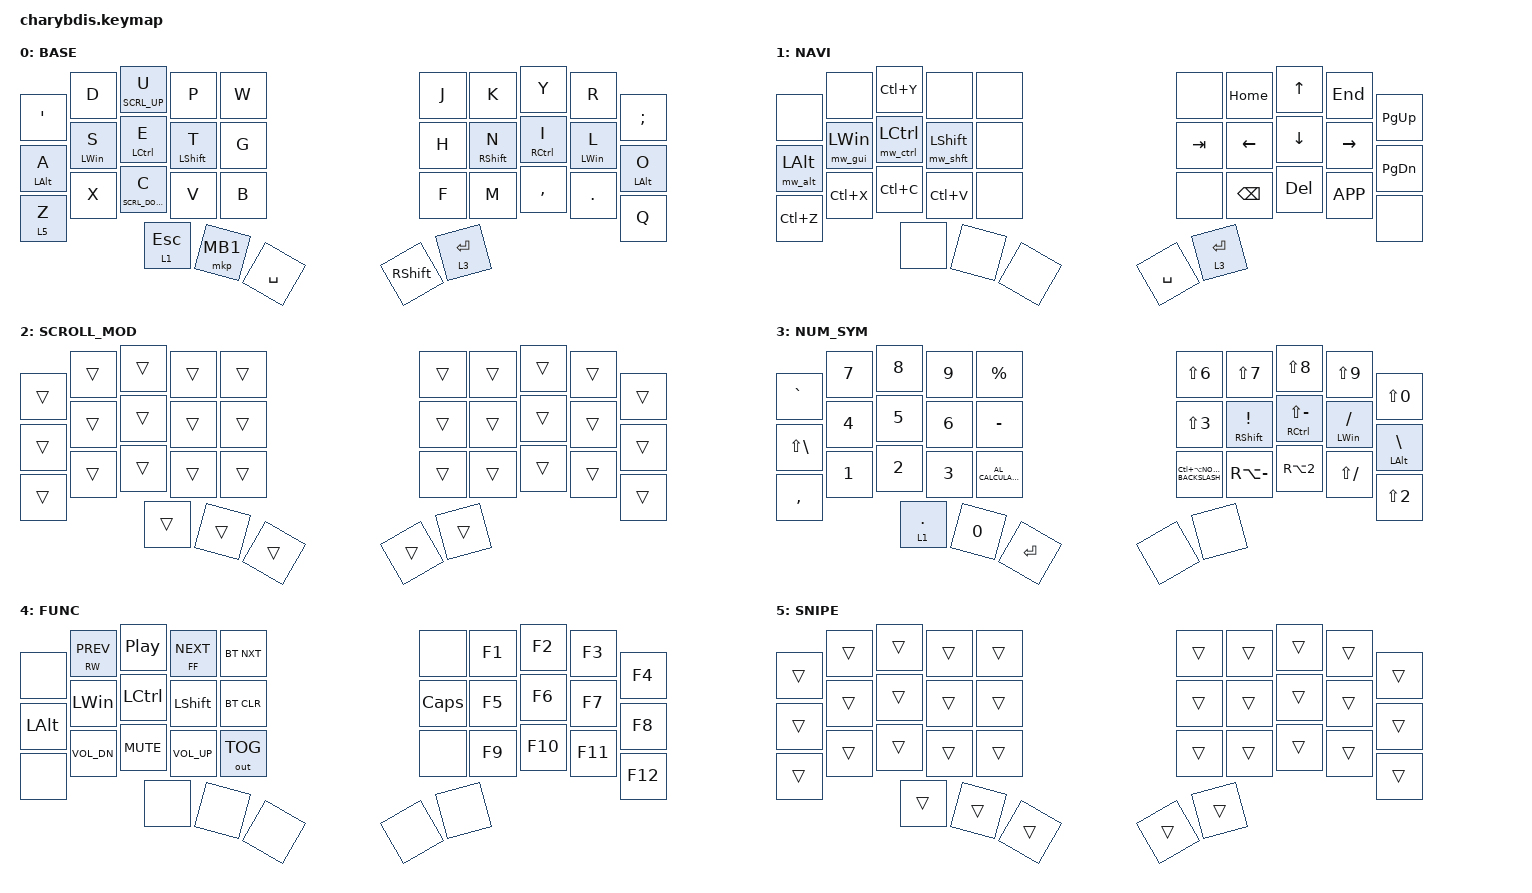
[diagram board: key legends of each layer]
#include <dt-bindings/zmk/mouse.h>
#include <behaviors/mouse_keys.dtsi>
#include <behaviors.dtsi>
#include <dt-bindings/zmk/bt.h>
#include <dt-bindings/zmk/keys.h>
#include <dt-bindings/zmk/outputs.h>
#include <dt-bindings/zmk/pointing.h>

// #include "macros.dtsi"
// #include "behaviors.dtsi"
// #include "combos.dtsi"

/ {
    /* input config for mouse move mode */

    trackball_listener {
        compatible = "zmk,input-behavior-listener";
        device = <&vtrackball>;
        layers = <0>;
        evt-type = <INPUT_EV_REL>;
        x-input-code = <INPUT_REL_X>;
        y-input-code = <INPUT_REL_Y>;
        scale-multiplier = <3>;
        scale-divisor = <5>;

        // bindings = <&ib_toggle_layer 7>;
    };

    /* input config for snipe mode */

    trackball_snipe_listener {
        compatible = "zmk,input-behavior-listener";
        device = <&vtrackball>;
        layers = <5>;
        evt-type = <INPUT_EV_REL>;
        x-input-code = <INPUT_REL_X>;
        y-input-code = <INPUT_REL_Y>;
        scale-multiplier = <1>;
        scale-divisor = <6>;
    };

    /* input config for mouse scroll mode */

    trackball_scroll_listener_vert {
        compatible = "zmk,input-behavior-listener";
        device = <&vtrackball>;
        layers = <1>;
        evt-type = <INPUT_EV_REL>;
        y-input-code = <INPUT_REL_WHEEL>;  // vertical scroll
        y-invert;
        x-input-code = <INPUT_REL_HWHEEL>;
        bindings = <&ib_wheel_scaler 1 48>, <&ib_hwheel_scaler 1 48>;

        // vertical scroll speed
    };

    trackball_scroll_listener_horiz {
        compatible = "zmk,input-behavior-listener";
        device = <&vtrackball>;
        layers = <2>;
        evt-type = <INPUT_EV_REL>;
        y-input-code = <INPUT_REL_WHEEL>;  // vertical scroll
        y-invert;
        x-input-code = <INPUT_REL_MISC>;
        bindings = <&ib_wheel_scaler 1 48>;  // vertical scroll speed
    };

    /* define a resolution down scaler only for INPUT_REL_WHEEL */

    ib_wheel_scaler: ib_wheel_scaler {
        compatible = "zmk,input-behavior-scaler";
        #binding-cells = <2>;
        evt-type = <INPUT_EV_REL>;
        input-code = <INPUT_REL_WHEEL>;
    };

    ib_hwheel_scaler: ib_hwheel_scaler {
        compatible = "zmk,input-behavior-scaler";
        #binding-cells = <2>;
        evt-type = <INPUT_EV_REL>;
        input-code = <INPUT_REL_HWHEEL>;
    };

    /* adjust cooldown waiting period for mouse key layer after activated */

    ib_toggle_layer: ib_toggle_layer {
        compatible = "zmk,input-behavior-tog-layer";
        #binding-cells = <1>;
        time-to-live-ms = <750>;
    };

    behaviors {
        hm_right: homerow_mod_right {
            compatible = "zmk,behavior-hold-tap";
            #binding-cells = <2>;
            flavor = "balanced";
            tapping-term-ms = <300>;

            // quick-tap-ms = <200>;
            // require-prior-idle-ms = <150>;

            bindings = <&kp>, <&kp>;

            hold-trigger-key-positions = <0 1 2 3 4 12 13 14 24 36 37 38 11 10 10 11 13 14 20 21 22 23 24>;
            hold-while-undecided;
            quick-tap-ms = <175>;
            require-prior-idle-ms = <150>;
            hold-trigger-on-release;
        };

        hm_left: homerow_mod_left {
            compatible = "zmk,behavior-hold-tap";
            #binding-cells = <2>;
            flavor = "balanced";
            tapping-term-ms = <300>;

            // quick-tap-ms = <200>;
            // require-prior-idle-ms = <150>;

            bindings = <&kp>, <&kp>;

            hold-trigger-key-positions = <5 6 7 8 9 15 16 17 18 19 25 26 27 28 29>;
            quick-tap-ms = <175>;
            require-prior-idle-ms = <150>;
            hold-while-undecided;
            hold-trigger-on-release;
        };

        navi_ctrl: navi_ctrl {
            compatible = "zmk,behavior-hold-tap";
            label = "NAVI_CTRL";
            bindings = <&mw_ctrl>, <&sk>;

            #binding-cells = <2>;
            hold-while-undecided;
            hold-while-undecided-linger;
            tapping-term-ms = <250>;
        };

        navi_shift: navi_shift {
            compatible = "zmk,behavior-hold-tap";
            label = "NAVI_SHIFT";
            bindings = <&mw_shft>, <&sk>;

            #binding-cells = <2>;
            hold-while-undecided;
            hold-while-undecided-linger;
            tapping-term-ms = <250>;
        };

        navi_gui: navi_gui {
            compatible = "zmk,behavior-hold-tap";
            label = "NAVI_GUI";
            bindings = <&mw_gui>, <&sk>;

            #binding-cells = <2>;
            hold-while-undecided;
            hold-while-undecided-linger;
            tapping-term-ms = <250>;
        };

        navi_alt: navi_alt {
            compatible = "zmk,behavior-hold-tap";
            label = "NAVI_ALT";
            bindings = <&mw_alt>, <&sk>;

            #binding-cells = <2>;
            hold-while-undecided;
            hold-while-undecided-linger;
            tapping-term-ms = <250>;
        };

        scroll_kp: scroll_kp {
            compatible = "zmk,behavior-hold-tap";
            label = "SCROLL_KP";
            bindings = <&msc>, <&kp>;

            #binding-cells = <2>;
            tapping-term-ms = <300>;
        };
    };

    macros {
        ENDASH: ENDASH {
            compatible = "zmk,behavior-macro";
            #binding-cells = <0>;
            bindings =
                <&macro_press>,
                <&kp LALT>,
                <&macro_tap>,
                <&kp KP_N0 &kp KP_N1 &kp KP_N5 &kp KP_N0>,
                <&macro_release>,
                <&kp LALT>;

            label = "ENDASH";
            wait-ms = <30>;
            tap-ms = <30>;
        };

        EMDASH: EMDASH {
            compatible = "zmk,behavior-macro";
            #binding-cells = <0>;
            bindings =
                <&macro_press>,
                <&kp LALT>,
                <&macro_tap>,
                <&kp KP_N0 &kp KP_N1 &kp KP_N5 &kp KP_N1>,
                <&macro_release>,
                <&kp LALT>;

            label = "EMDASH";
            wait-ms = <30>;
            tap-ms = <30>;
        };

        SUPER2: SUPER2 {
            compatible = "zmk,behavior-macro";
            #binding-cells = <0>;
            bindings =
                <&macro_press>,
                <&kp LALT>,
                <&macro_tap>,
                <&kp KP_N0 &kp KP_N1 &kp KP_N7 &kp KP_N8>,
                <&macro_release>,
                <&kp LALT>;

            label = "SUPER2";
            wait-ms = <30>;
            tap-ms = <30>;
        };

        SUPER3: SUPER3 {
            compatible = "zmk,behavior-macro";
            #binding-cells = <0>;
            bindings =
                <&macro_press>,
                <&kp LALT>,
                <&macro_tap>,
                <&kp KP_N0 &kp KP_N1 &kp KP_N7 &kp KP_N9>,
                <&macro_release>,
                <&kp LALT>;

            label = "SUPER3";
            wait-ms = <30>;
            tap-ms = <30>;
        };

        DEG: DEG {
            compatible = "zmk,behavior-macro";
            #binding-cells = <0>;
            bindings =
                <&macro_press>,
                <&kp LALT>,
                <&macro_tap>,
                <&kp KP_N0 &kp KP_N1 &kp KP_N7 &kp KP_N6>,
                <&macro_release>,
                <&kp LALT>;

            label = "DEG";
            wait-ms = <30>;
            tap-ms = <30>;
        };

        mw_ctrl: mw_ctrl {
            compatible = "zmk,behavior-macro";
            #binding-cells = <0>;
            bindings =
                <&macro_press>,
                <&mo 2 &kp LCTRL>,
                <&macro_pause_for_release>,
                <&macro_release>,
                <&mo 2 &kp LCTRL>;

            label = "MW_CTRL";
        };

        mw_shft: mw_shft {
            compatible = "zmk,behavior-macro";
            #binding-cells = <0>;
            bindings =
                <&macro_press>,
                <&mo 2 &kp LSHFT>,
                <&macro_pause_for_release>,
                <&macro_release>,
                <&mo 2 &kp LSHFT>;

            label = "MW_SHFT";
        };

        mw_gui: mw_gui {
            compatible = "zmk,behavior-macro";
            #binding-cells = <0>;
            bindings =
                <&macro_press>,
                <&mo 2 &kp LWIN>,
                <&macro_pause_for_release>,
                <&macro_release>,
                <&mo 2 &kp LWIN>;

            label = "MW_GUI";
        };

        mw_alt: mw_alt {
            compatible = "zmk,behavior-macro";
            #binding-cells = <0>;
            bindings =
                <&macro_press>,
                <&mo 2 &kp LALT>,
                <&macro_pause_for_release>,
                <&macro_release>,
                <&mo 2 &kp LALT>;

            label = "MW_ALT";
        };
    };

    // ╭──────┬──────┬──────┬──────┬──────┬──────╮  ╭──────┬──────┬──────┬──────┬──────┬──────╮
    //    00     01     02     03    04      05        06     07     08     09     10     11
    // ├──────┼──────┼──────┼──────┼──────┼──────┤  ├──────┼──────┼──────┼──────┼──────┼──────┤
    //    12     13     14     15    16      17        18     19     20     21     22     23
    // ├──────┼──────┼──────┼──────┼──────┼──────┤  ├──────┼──────┼──────┼──────┼──────┼──────┤
    //    24     25     26     27    28      29        30     31     32     33     34     35
    // ╰──────┴──────┴──────┼──────┼──────┼──────┤  ├──────┼──────┼──────┴──────┴──────┴──────╯
    //                         36     37     38        39     40
    //                      ╰──────┴──────┴──────╯  ╰──────┴──────╯

    #define BASE    0
    #define NAVI     1
    #define NUM_SYM     2
    #define MOUSE    3


    #define FUNC  4

    combos {
        compatible = "zmk,combos";

        LBRACKER {
            bindings = <&kp RA(N8)>;
            key-positions = <6 7>;
            layers = <3>;
        };

        RBRACKET {
            bindings = <&kp RA(N9)>;
            key-positions = <7 8>;
            layers = <3>;
        };

        LESSTHAN {
            bindings = <&kp NON_US_BSLH>;
            key-positions = <16 17>;
            layers = <3>;
        };

        MORETHAN {
            bindings = <&kp LS(NON_US_BSLH)>;
            key-positions = <17 18>;
            layers = <3>;
        };

        LBRACE {
            bindings = <&kp RA(N7)>;
            key-positions = <26 27>;
            layers = <3>;
        };

        RBRACE {
            bindings = <&kp RA(N0)>;
            key-positions = <27 28>;
            layers = <3>;
        };

        ENDASH {
            bindings = <&ENDASH>;
            key-positions = <18 19>;
            layers = <3>;
            timeout-ms = <300>;
        };

        EMDASH {
            bindings = <&EMDASH>;
            key-positions = <18 19 17>;
            layers = <3>;
            timeout-ms = <300>;
        };

        CAPSWORD {
            bindings = <&caps_word>;
            key-positions = <14 15>;
        };

        SUPER2 {
            bindings = <&SUPER2>;
            key-positions = <21 22>;
            layers = <3>;
        };

        SUPER3 {
            bindings = <&SUPER3>;
            key-positions = <23 22>;
            layers = <3>;
        };

        DEG {
            bindings = <&DEG>;
            key-positions = <13 12>;
            layers = <3>;
        };

        mb2_combo {
            bindings = <&mkp MB2>;
            key-positions = <31 32>;
            layers = <0 5>;
        };

        mb3_combo {
            bindings = <&mkp MB3>;
            key-positions = <30 31>;
            layers = <0 5>;
        };
    };

    keymap {
        compatible = "zmk,keymap";

        BASE {
            bindings = <
  &kp SQT              &kp D            &scroll_kp SCRL_UP U    &kp P              &kp W        &kp J      &kp K              &kp Y              &kp R             &kp SEMI
  &hm_left LEFT_ALT A  &hm_left LWIN S  &hm_left LCTRL E        &hm_left LSHIFT T  &kp G        &kp H      &hm_right RSHFT N  &hm_right RCTRL I  &hm_right LWIN L  &hm_right LALT O
  &lt 5 Z              &kp X            &scroll_kp SCRL_DOWN C  &kp V              &kp B        &kp F      &kp M              &kp COMMA          &kp DOT           &kp Q
                                        &lt 1 ESC               &mkp MB1           &kp SPACE    &kp RSHFT  &lt 3 ENTER
            >;
        };

        NAVI {
            bindings = <
  &none             &none             &kp LC(Y)           &none                &none    &none      &kp HOME        &kp UP    &kp END    &kp PG_UP
  &navi_alt 0 LALT  &navi_gui 0 LWIN  &navi_ctrl 0 LCTRL  &navi_shift 0 LSHFT  &none    &kp TAB    &kp LEFT_ARROW  &kp DOWN  &kp RIGHT  &kp PG_DN
  &kp LC(Z)         &kp LC(X)         &kp LC(C)           &kp LC(V)            &none    &none      &kp BSPC        &kp DEL   &kp K_APP  &none
                                      &none               &none                &none    &kp SPACE  &lt 3 ENTER
            >;
        };

        SCROLL_MOD {
            bindings = <
  &trans  &trans  &trans  &trans  &trans    &trans  &trans  &trans  &trans  &trans
  &trans  &trans  &trans  &trans  &trans    &trans  &trans  &trans  &trans  &trans
  &trans  &trans  &trans  &trans  &trans    &trans  &trans  &trans  &trans  &trans
                  &trans  &trans  &trans    &trans  &trans
            >;
        };

        NUM_SYM {
            bindings = <
  &kp GRAVE          &kp N7  &kp N8        &kp N9  &kp PRCNT              &kp LS(NUMBER_6)              &kp LS(N7)      &kp LS(N8)           &kp LS(N9)      &kp LS(N0)
  &kp LS(BACKSLASH)  &kp N4  &kp N5        &kp N6  &kp MINUS              &kp LS(NUMBER_3)              &mt RSHFT EXCL  &mt RCTRL LS(MINUS)  &mt LWIN SLASH  &mt LEFT_ALT BACKSLASH
  &kp COMMA          &kp N1  &kp N2        &kp N3  &kp C_AL_CALCULATOR    &kp LC(LA(NON_US_BACKSLASH))  &kp RA(MINUS)   &kp RA(NUMBER_2)     &kp LS(SLASH)   &kp LS(N2)
                             &lt 1 PERIOD  &kp N0  &kp ENTER              &none                         &none
            >;
        };

        FUNC {
            bindings = <
  &none     &mt C_RW C_PREV  &kp C_PP    &mt C_FF C_NEXT  &bt BT_NXT      &none     &kp F1  &kp F2   &kp F3   &kp F4
  &kp LALT  &kp LWIN         &kp LCTRL   &kp LSHFT        &bt BT_CLR      &kp CAPS  &kp F5  &kp F6   &kp F7   &kp F8
  &none     &kp C_VOL_DN     &kp C_MUTE  &kp C_VOL_UP     &out OUT_TOG    &none     &kp F9  &kp F10  &kp F11  &kp F12
                             &none       &none            &none           &none     &none
            >;
        };

        SNIPE {
            bindings = <
  &trans  &trans  &trans  &trans  &trans    &trans  &trans  &trans  &trans  &trans
  &trans  &trans  &trans  &trans  &trans    &trans  &trans  &trans  &trans  &trans
  &trans  &trans  &trans  &trans  &trans    &trans  &trans  &trans  &trans  &trans
                  &trans  &trans  &trans    &trans  &trans
            >;
        };
    };

    conditional_layers {
        compatible = "zmk,conditional-layers";

        FUNC {
            if-layers = <1 3>;
            then-layer = <4>;
        };
    };
};
